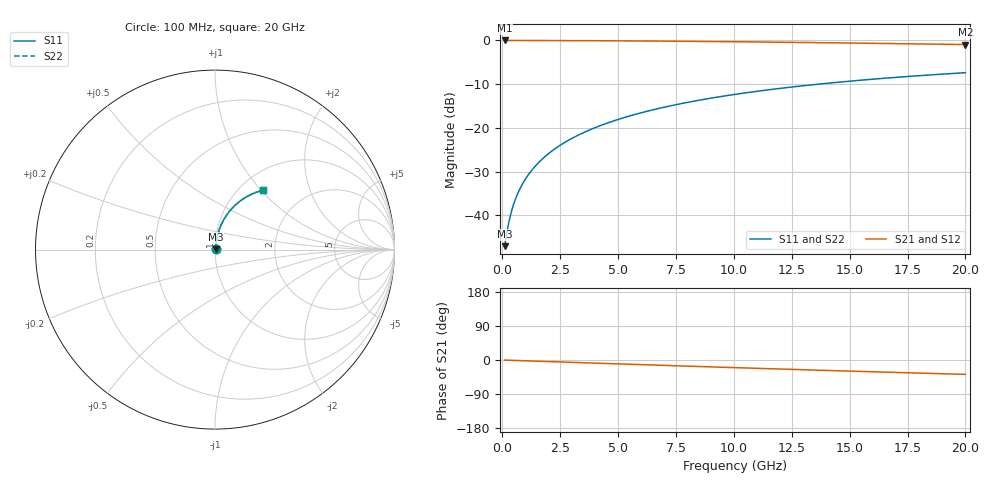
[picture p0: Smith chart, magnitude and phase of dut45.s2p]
! Touchstone file exported from HFSS 2026.1.0
!  File:  C:/ffzhzh/LocalFiles/Ansys_Project_Files/temp_train_TMRDL_45_1782880741_13352.aedt
!  Generated:  12:40:14 PM Jul  1, 2026
!  Design:  TMRDL
!  Project:  temp_train_TMRDL_45_1782880741_13352
! Variables:
!  h_bsmrdl = 2um
!  h_ox = 20um
!  h_rdl = 5um
!  h_sub = 80um
!  h_tmrdl = 2.61um
!  h_tsv = 80um
!  h_via = 3um
!  l_bsmrdl = 300um
!  l_sub = 868.91um
!  l_tmrdl = 468.91um
!  m_sub = 200um
!  pitch = 59.16um
!  r_tsv = 6um
!  s_tmrdl = 10um
!  w_bsmrdl = 18um
!  w_sub = 500um
!  w_tmrdl = 19.2um
!  x_tsv_center1 = 478.51um
!  x_tsv_center2 = 796.51um
!  x_tsv_center3 = 1284.62um
!  x_tsv_center4 = 1602.62um
!  x_tsv_center5 = 2090.73um
!  x_tsv_center6 = 2408.73um
# GHz S MA R 50.000000
! Terminal data exported
! Port[1] = TM_RDL1_1_T1
! Port[2] = TM_RDL1_1_T2
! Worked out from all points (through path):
!   200 points, 100 MHz to 20 GHz, reference 50 ohm
!   highest |S21| = -0.03 dB at 100 MHz (marker M1); lowest = -1.0 dB at 20 GHz (marker M2)
!   group delay of S21, straight-line fit = 5.28 ps
!   lowest |S11| = -47.0 dB at 100 MHz (marker M3), VSWR 1.01, Z = 50.4 + j0.269 ohm
!   |S11| at or under -10 dB: start of sweep to 13.68 GHz
!   |S22| runs from -47.0 to -7.4 dB; largest |S21 - S12| = 3e-15
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0.1  0.004444 36.9  0.9965 -0.2  0.9965 -0.2  0.004444 36.9
! Gamma 0 0 0 0
! Port Impedance 50 0 50 0
0.2  0.006452 55.5  0.9964 -0.4  0.9964 -0.4  0.006452 55.5
0.3  0.00879 64.4  0.9963 -0.6  0.9963 -0.6  0.00879 64.4
0.4  0.01122 69.2  0.9961 -0.9  0.9961 -0.9  0.01122 69.2
0.5  0.01368 72.3  0.996 -1.1  0.996 -1.1  0.01368 72.3
0.6  0.01614 74.3  0.9959 -1.3  0.9959 -1.3  0.01614 74.3
0.8  0.02107 76.9  0.9956 -1.7  0.9956 -1.7  0.02107 76.9
1.1  0.02848 79.0  0.9953 -2.3  0.9953 -2.3  0.02848 79.0
1.5  0.0384 80.3  0.9949 -3.1  0.9949 -3.1  0.0384 80.3
1.8  0.04586 80.6  0.9945 -3.7  0.9945 -3.7  0.04586 80.6
2.1  0.05332 80.8  0.994 -4.3  0.994 -4.3  0.05332 80.8
2.7  0.06824 80.5  0.993 -5.6  0.993 -5.6  0.06824 80.5
3.5  0.08804 79.6  0.9913 -7.2  0.9913 -7.2  0.08804 79.6
4.2  0.1052 78.6  0.9894 -8.6  0.9894 -8.6  0.1052 78.6
5  0.1247 77.3  0.987 -10.3  0.987 -10.3  0.1247 77.3
5.9  0.1463 75.8  0.9837 -12.1  0.9837 -12.1  0.1463 75.8
6.8  0.1676 74.2  0.98 -13.9  0.98 -13.9  0.1676 74.2
8.3  0.2023 71.4  0.973 -16.8  0.973 -16.8  0.2023 71.4
10.1  0.2423 68.1  0.9633 -20.3  0.9633 -20.3  0.2423 68.1
13.4  0.3107 62.1  0.9426 -26.5  0.9426 -26.5  0.3107 62.1
16.7  0.3722 56.3  0.9194 -32.3  0.9194 -32.3  0.3722 56.3
20  0.4267 50.9  0.8951 -37.9  0.8951 -37.9  0.4267 50.9
